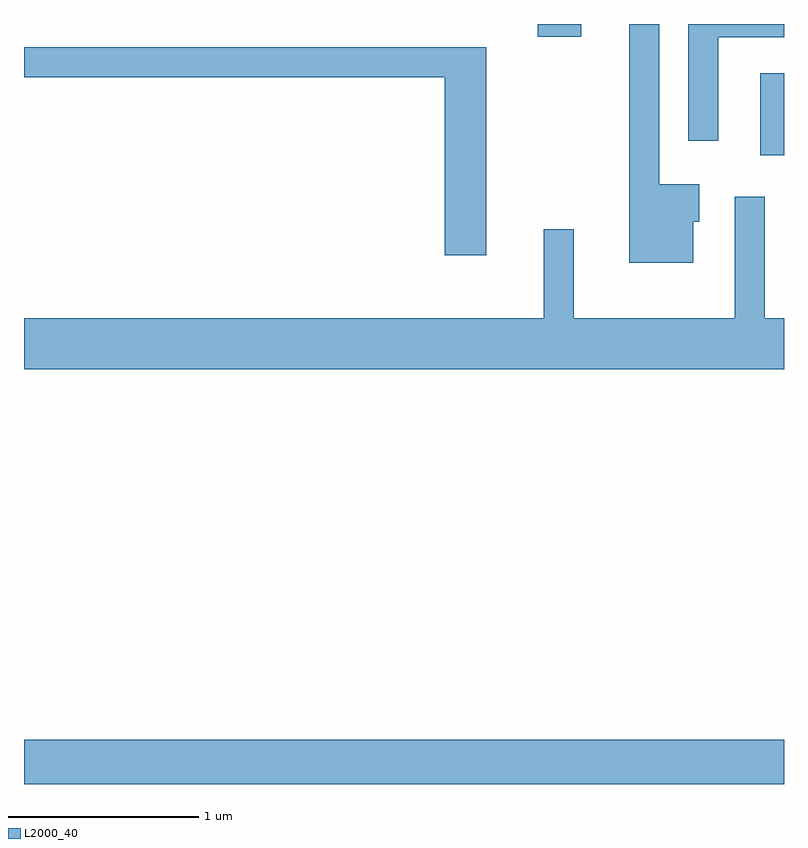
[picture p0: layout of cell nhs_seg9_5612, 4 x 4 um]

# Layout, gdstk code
import gdstk
lib = gdstk.Library(unit=1e-6, precision=1e-09)
def R(c, l, rs):  # rectangles x0, y0, x1, y1
    for r in rs: c.add(gdstk.rectangle(r[:2], r[2:], *l))
def P(c, l, *ps):  # polygons
    for p in ps: c.add(gdstk.Polygon(p, *l))
L2000_40 = (2000, 40)

nhs_seg9_5612 = lib.new_cell('nhs_seg9_5612')
R(nhs_seg9_5612, L2000_40, [(349.611,2078.432,353.611,2078.664), (353.486,2081.741,353.611,2082.174), (352.316,2082.366,352.544,2082.432)])
P(nhs_seg9_5612, L2000_40, [(353.134,2081.391),(353.164,2081.391),(353.164,2081.589),(352.954,2081.589),(352.954,2082.432),(352.796,2082.432),(352.796,2081.176),(353.134,2081.176)],
  [(353.264,2082.361),(353.611,2082.361),(353.611,2082.432),(353.106,2082.432),(353.106,2081.818),(353.264,2081.818)],
  [(352.044,2082.309),(349.611,2082.309),(349.611,2082.151),(351.826,2082.151),(351.826,2081.216),(352.044,2081.216)],
  [(353.611,2080.884),(353.509,2080.884),(353.509,2081.523),(353.351,2081.523),(353.351,2080.884),(352.504,2080.884),(352.504,2081.353),(352.346,2081.353),(352.346,2080.884),(349.611,2080.884),(349.611,2080.616),(353.611,2080.616)])

lib.write_gds('nhs_seg9_5612.gds')
